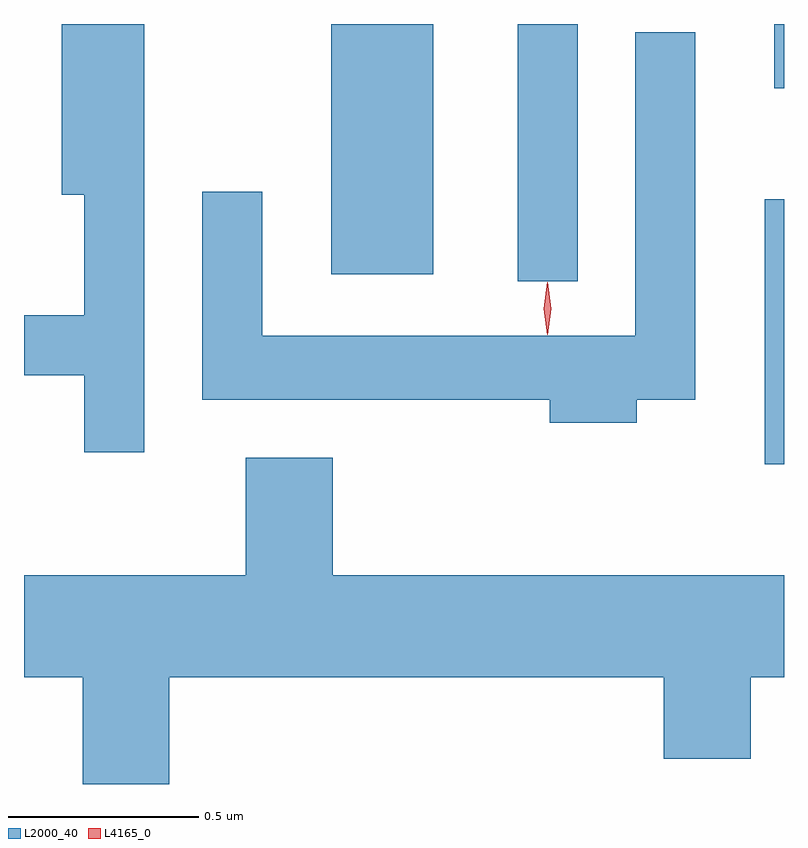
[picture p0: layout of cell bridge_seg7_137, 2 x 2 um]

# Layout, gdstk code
import gdstk
lib = gdstk.Library(unit=1e-6, precision=1e-09)
def R(c, l, rs):  # rectangles x0, y0, x1, y1
    for r in rs: c.add(gdstk.rectangle(r[:2], r[2:], *l))
def P(c, l, *ps):  # polygons
    for p in ps: c.add(gdstk.Polygon(p, *l))
L2000_40 = (2000, 40)
L4165_0 = (4165, 0)

bridge_seg7_137 = lib.new_cell('bridge_seg7_137')
R(bridge_seg7_137, L2000_40, [(1471.076,1734.856,1471.127,1735.554), (1470.426,1735.338,1470.584,1736.015), (1469.936,1735.356,1470.204,1736.015), (1471.101,1735.846,1471.127,1736.015)])
P(bridge_seg7_137, L2000_40, [(1469.444,1736.015),(1469.226,1736.015),(1469.226,1735.566),(1469.286,1735.566),(1469.286,1735.249),(1469.127,1735.249),(1469.127,1735.091),(1469.286,1735.091),(1469.286,1734.888),(1469.444,1734.888)],
  [(1470.739,1735.026),(1470.894,1735.026),(1470.894,1735.993),(1470.736,1735.993),(1470.736,1735.194),(1469.754,1735.194),(1469.754,1735.573),(1469.596,1735.573),(1469.596,1735.026),(1470.511,1735.026),(1470.511,1734.966),(1470.739,1734.966)],
  [(1469.509,1734.296),(1470.811,1734.296),(1470.811,1734.081),(1471.039,1734.081),(1471.039,1734.296),(1471.127,1734.296),(1471.127,1734.564),(1469.939,1734.564),(1469.939,1734.874),(1469.711,1734.874),(1469.711,1734.564),(1469.127,1734.564),(1469.127,1734.296),(1469.281,1734.296),(1469.281,1734.015),(1469.509,1734.015)])
P(bridge_seg7_137, L4165_0, [(1470.504,1735.197),(1470.495,1735.266),(1470.504,1735.336),(1470.505,1735.336),(1470.505,1735.336),(1470.515,1735.266),(1470.505,1735.197),(1470.505,1735.197)])

lib.write_gds('bridge_seg7_137.gds')
